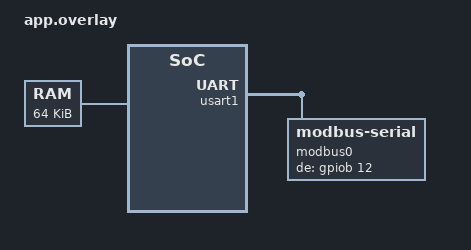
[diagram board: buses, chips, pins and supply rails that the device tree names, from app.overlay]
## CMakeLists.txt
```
cmake_minimum_required(VERSION 3.20.0)

set(ZEPHYR_TOOLCHAIN_VARIANT zephyr CACHE STRING "Zephyr toolchain variant")

find_package(Zephyr REQUIRED HINTS $ENV{ZEPHYR_BASE} )
project(colibri_runtime C CXX ASM)

target_include_directories(app PRIVATE
        lua/
        include/
)

target_sources(app PRIVATE
        src/main.c
        src/boot/environment.c
        src/boot/error-handling.c
        src/boot/initialization.c
        src/events/events.c
        src/fs/fs_callback.c
        src/fs/nvs.c
        src/leds/neopixels.c
        src/leds/leds.c
        src/lua/load-lua.c
        src/lua/lua.c
        src/management/eeprom.c
        src/management/io-test.c
        src/modbus/modbus.c
        src/slots/code-arena.c
        src/slots/host-api.c
        src/slots/slots.c
        src/slots/slotcount.c
        src/slots/i2c.c
        src/slots/spi.c
        src/string/strings.c
        src/timing/timing.c
        src/tasks/io-subsystem.c
        src/tasks/rgb-updater.c
        src/tasks/supervisor.c
        src/usb/usb.c

        lua/lapi.c
        lua/lbaselib.c
        lua/lctype.c
        lua/ldo.c
        lua/lfunc.c
        lua/linit.c
        lua/lmathlib.c
        lua/lobject.c
        lua/lparser.c
        lua/lstring.c
        lua/ltable.c
        lua/ltm.c
        lua/lvm.c
        lua/lauxlib.c
        lua/lcode.c
        lua/ldebug.c
        lua/ldump.c
        lua/lgc.c
        lua/llex.c
        lua/lmem.c
        lua/lopcodes.c
        lua/lstate.c
        lua/lstrlib.c
        lua/ltablib.c
        lua/lundump.c
        lua/lzio.c
        lua/helper/luaHeap.c
)

target_compile_definitions(app PRIVATE
        # Platform & Optimization
        ARM
        M4_COMPILER_GCC
)

target_link_libraries(app PUBLIC m)

# TODO: Build of Colibri SDK, for creating I/O module drivers.
#
# For now, that is symlinked into colibri-drivers
```

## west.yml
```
# @copyright Copyright (c) 2026, CurrentMakers.com and the individuals that has contributed to this project.
#
# SPDX-License-Identifier: Apache-2.0

manifest:
  projects:
    - name: zephyr
      revision: v4.4.0
      url: https://github.com/zephyrproject-rtos/zephyr
      west-commands: scripts/west-commands.yml
      import:
        name-allowlist:
          - littlefs
          - picolibc
          - hal_stm32
          - hal_st
          - hal_nordic
          - hal_rpi_pico
          - cmsis_6
          - zcbor
    - name: zephyr-cm
      url: https://github.com/currentmakers/zephyr-cm
      revision: master 
      path: zephyr-cm
    - name: zephyr-ws2812b-pwm
      url: https://github.com/currentmakers/zephyr-ws2812b-pwm
      revision: master
      path: modules/lib/zephyr-ws2812b-pwm
#    - name: wasm-micro-runtime
#      url: https://github.com/bytecodealliance/wasm-micro-runtime.git
#      revision: main
#      path: modules/lib/wasm-micro-runtime
  self:
    path: .
```

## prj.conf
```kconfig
# Keep the DBGMCU clock running during low-power sleep modes
CONFIG_STM32_ENABLE_DEBUG_SLEEP_STOP=y

# Forces the CPU to keep JTAG/SWD pins allocated for debugging
CONFIG_DEBUG=y

CONFIG_FPU=y

# Essential Low-Level Hardware Drivers
CONFIG_SERIAL=y
CONFIG_UART_ASYNC_API=n
CONFIG_CONSOLE=y
CONFIG_UART_CONSOLE=y

# Base File System & Storage Layers
CONFIG_FLASH=y
CONFIG_FLASH_MAP=y
CONFIG_FILE_SYSTEM=y
CONFIG_FS_LITTLEFS_NUM_FILES=4

# Base Utilities that MCUmgr needs to unlock NET_BUF and ZCBOR
CONFIG_NET_BUF=y
CONFIG_ZCBOR=y
CONFIG_BASE64=y
CONFIG_CRC=y

# Classic USB Device Stack Setup
CONFIG_USB_DEVICE_STACK=y
CONFIG_USB_CDC_ACM=y
CONFIG_SERIAL=y
CONFIG_UART_LINE_CTRL=y

# Core MCUmgr Subsystem
CONFIG_MCUMGR=y
CONFIG_MCUMGR_TRANSPORT_WORKQUEUE_STACK_SIZE=3072
CONFIG_MCUMGR_TRANSPORT_UART=y
CONFIG_UART_MCUMGR=y
CONFIG_MCUMGR_GRP_OS=y
CONFIG_MCUMGR_GRP_FS=y
CONFIG_MCUMGR_GRP_SHELL=y
CONFIG_MCUMGR_GRP_SETTINGS=y
CONFIG_MCUMGR_GRP_FS_FILE_ACCESS_HOOK=y
CONFIG_MCUMGR_MGMT_NOTIFICATION_HOOKS=y

# Core Utilities required by MCUmgr
CONFIG_NET_BUF=y
CONFIG_ZCBOR=y
CONFIG_BASE64=y
CONFIG_CRC=y

CONFIG_HEAP_MEM_POOL_SIZE=4096
CONFIG_SYS_HEAP_RUNTIME_STATS=y
# The boot path in initialize_all() is the deepest stack consumer in the system:
# list_directory() recurses with a 540-byte frame (fs_dirent + full_path[256]),
# and because the carrier flash's SPI chip-select hangs off the TCA6424 behind
# the TCA9548 mux, every littlefs block read adds a further ~7 driver frames
# (spi_nor -> spi_stm32 -> gpio -> tca6424a -> i2c -> tca954x). Two directory
# levels exhausted 2048 bytes exactly. Do not trim this without re-measuring.
CONFIG_MAIN_STACK_SIZE=4096
CONFIG_SYSTEM_WORKQUEUE_STACK_SIZE=2048

#CONFIG_NEWLIB_LIBC=y
CONFIG_PICOLIBC=y

# Lua stack management
CONFIG_STACK_SENTINEL=n
CONFIG_THREAD_STACK_INFO=y
CONFIG_INIT_STACKS=y
# MPU-backed stack overflow protection: faults immediately on overflow with the
# offending thread in the fault dump (vs. STACK_SENTINEL which only checks at
# context switch). Requires an MPU (present on the STM32 Cortex-M).
CONFIG_ARM_MPU=y
CONFIG_HW_STACK_PROTECTION=y
# Replace Zephyr's generic FLASH/SRAM region table with src/slots/code-arena.c,
# which adds the executable regions for the slot driver code arena. Zephyr's
# default SRAM region is execute-never under CONFIG_XIP, so PIC loaded from a
# slot EEPROM cannot be branched into without this.
CONFIG_CPU_HAS_CUSTOM_FIXED_SOC_MPU_REGIONS=y
CONFIG_THREAD_ANALYZER=y
CONFIG_THREAD_ANALYZER_AUTO=n
CONFIG_THREAD_ANALYZER_USE_PRINTK=y

# Enable Serial
CONFIG_SERIAL=y
CONFIG_UART_STM32=y
CONFIG_UART_INTERRUPT_DRIVEN=y

# Console over USART2 (ST-Link VCP)
CONFIG_CONSOLE=y
CONFIG_UART_CONSOLE=y

CONFIG_PRINTK=y
CONFIG_PRINTK_SYNC=y

CONFIG_ASSERT=y

CONFIG_LED=y
CONFIG_LED_GPIO=y

CONFIG_I2C=y
CONFIG_PWM=y
CONFIG_SPI=y

# Ensure STM32 SPI DMA is not enabled
CONFIG_SPI_ASYNC=n

CONFIG_LED_STRIP=y
CONFIG_WS2812_PWM=y
CONFIG_GPIO_TCA6424A=y

# Core Flash and Storage support
CONFIG_FLASH=y
CONFIG_FLASH_MAP=y
CONFIG_STREAM_FLASH=y

# Enable LittleFS
CONFIG_FILE_SYSTEM=y
CONFIG_FILE_SYSTEM_LITTLEFS=y
CONFIG_FILE_SYSTEM_MKFS=y

# Enable POSIX
CONFIG_POSIX_API=y

# Enable NVS
CONFIG_NVS=y
CONFIG_FLASH_PAGE_LAYOUT=y
CONFIG_SPI_NOR_FLASH_LAYOUT_PAGE_SIZE=4096

# Modbus support
CONFIG_MODBUS=y
CONFIG_MODBUS_ROLE_SERVER=y
CONFIG_MODBUS_SERIAL=y

# Logging flags
CONFIG_LOG=n
CONFIG_LOG_BACKEND_UART=n
CONFIG_LOG_BUFFER_SIZE=2048
#CONFIG_I2C_LOG_LEVEL_DBG=y
#CONFIG_GPIO_LOG_LEVEL_DBG=y
#CONFIG_SPI_LOG_LEVEL_DBG=y
CONFIG_THREAD_MONITOR=y
CONFIG_THREAD_NAME=y

# Optimzations
# CONFIG_LINKER_ORPHAN_SECTION_WARN=y
# CONFIG_CBPRINTF_NANO=y
# CONFIG_BOOT_BANNER=n
```

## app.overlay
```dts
/ {
	aliases {
		modbus0 = &modbus0;
	};

	/*
	 * Slot driver code is read out of each I/O module's EEPROM into RAM and
	 * executed in place. Zephyr marks the whole SRAM MPU region execute-never
	 * whenever CONFIG_XIP=y, so the arena has to sit outside the kernel's SRAM
	 * and get its own MPU regions with XN clear (src/slots/code-arena.c).
	 *
	 * Base and size are constrained by the ARMv7-M MPU: every region must be a
	 * power-of-two size aligned to that size. 64 KB at 0x20010000 satisfies both
	 * with a single region, and ends exactly at the top of the 128 KB SRAM.
	 * Keeping it at the top also lets the kernel SRAM region stay a plain 128 KB
	 * at 0x20000000. Resizing or moving it means revisiting the region table in
	 * src/slots/code-arena.c, which asserts on both properties.
	 */
	slot_code_arena: memory@20010000 {
		compatible = "zephyr,memory-region";
		reg = <0x20010000 0x10000>;
		zephyr,memory-region = "IO_DRIVERS";
	};
};

/* Kernel SRAM shrinks to the 64 KB below the arena. */
&sram0 {
	reg = <0x20000000 0x10000>;
};

&usart1 {
	status = "okay";
	/* Modbus as a child of the UART */
	modbus0: modbus0 {
		compatible = "zephyr,modbus-serial";
		status = "okay";
		de-gpios = <&gpiob 12 GPIO_ACTIVE_HIGH>;
	};
};
```

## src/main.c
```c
#include "colibri/boot.h"

int main()
{
    int error = boot_initialize();

    if (error)
    {
        boot_error(error);
    } else
    {
        boot_ok();
    }
    return 0;
}
```
